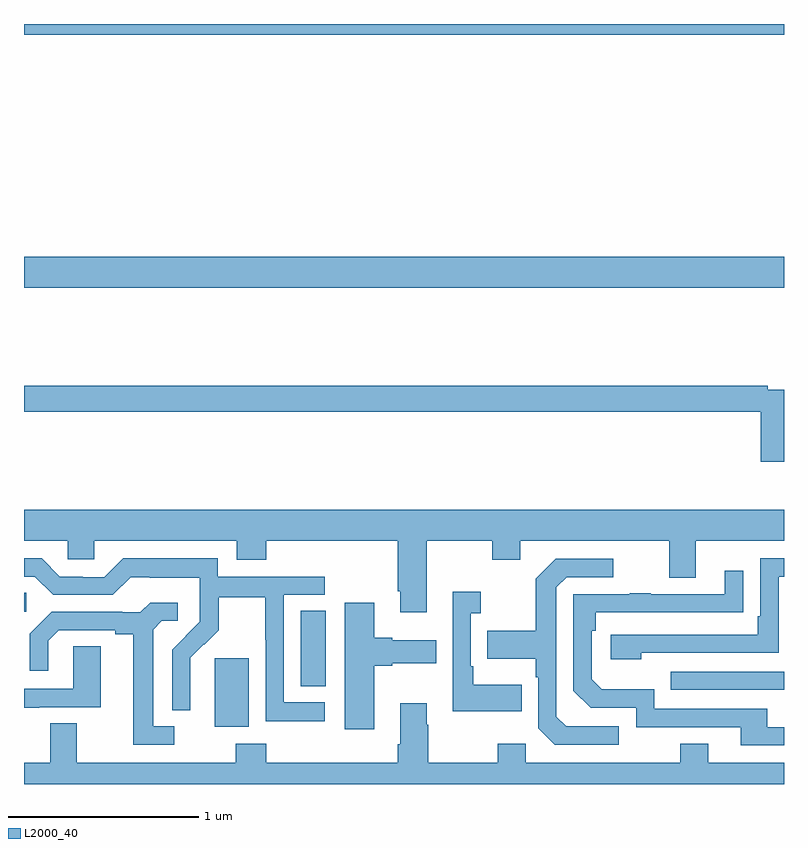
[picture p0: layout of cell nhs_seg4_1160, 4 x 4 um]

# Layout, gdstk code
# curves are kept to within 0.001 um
import gdstk
lib = gdstk.Library(unit=1e-6, precision=1e-09)
def R(c, l, rs):  # rectangles x0, y0, x1, y1
    for r in rs: c.add(gdstk.rectangle(r[:2], r[2:], *l))
def P(c, l, *ps):  # polygons
    for p in ps: c.add(gdstk.Polygon(p, *l))
L2000_40 = (2000, 40)

nhs_seg4_1160 = lib.new_cell('nhs_seg4_1160')
R(nhs_seg4_1160, L2000_40, [(172.004,769.202,172.183,769.563), (174.403,769.395,175,769.491), (172.457,769.414,172.588,769.811), (171,769.806,171.013,769.907), (171,771.512,175,771.676), (171,772.844,175,772.9)])
P(nhs_seg4_1160, L2000_40, [(175,770.976),(174.914,770.976),(174.914,770.996),(171,770.996),(171,770.86),(174.878,770.86),(174.878,770.595),(175,770.595)],
  [(173.119,770.18),(173.464,770.18),(173.464,770.081),(173.611,770.081),(173.611,770.18),(174.395,770.18),(174.395,769.986),(174.535,769.986),(174.535,770.18),(175,770.18),(175,770.344),(171,770.344),(171,770.18),(171.231,770.18),(171.231,770.082),(171.369,770.082),(171.369,770.18),(172.121,770.18),(172.121,770.081),(172.274,770.081),(172.274,770.18),(172.967,770.18),(172.967,769.915),(172.979,769.915),(172.979,769.803),(173.119,769.803)],
  [(172.582,769.329),(172.368,769.329),(172.368,769.896),(172.582,769.896),(172.582,769.992),(172.02,769.992),(172.02,770.089),(171.523,770.089),(171.423,769.989),(171.308,769.989),(171.308,769.992),(171.189,769.992),(171.093,770.088),(171,770.088),(171,769.992),(171.057,769.992),(171.153,769.896),(171.468,769.896),(171.561,769.989),(171.661,769.989),(171.661,769.985),(171.924,769.985),(171.924,769.851),(171.926,769.851),(171.926,769.754),(171.78,769.606),(171.78,769.288),(171.876,769.288),(171.875,769.565),(171.945,769.635),(171.948,769.632),(172.025,769.709),(172.025,769.884),(172.27,769.884),(172.27,769.66),(172.272,769.66),(172.272,769.231),(172.582,769.231)],
  [(174.248,769.59),(174.972,769.59),(174.972,769.992),(175,769.992),(175,770.088),(174.876,770.088),(174.876,769.783),(174.863,769.783),(174.863,769.686),(174.087,769.686),(174.087,769.556),(174.248,769.556)],
  [(174.13,769.203),(173.853,769.203),(173.802,769.254),(173.802,769.935),(173.856,769.989),(174.1,769.989),(174.1,770.085),(173.799,770.085),(173.694,769.979),(173.694,769.707),(173.437,769.707),(173.437,769.559),(173.694,769.559),(173.694,769.463),(173.706,769.463),(173.706,769.194),(173.793,769.107),(174.13,769.107)],
  [(175,769.2),(174.913,769.2),(174.913,769.296),(174.318,769.296),(174.318,769.399),(174.041,769.399),(173.988,769.452),(173.988,769.706),(174.008,769.706),(174.008,769.803),(174.785,769.804),(174.785,770.023),(174.689,770.023),(174.689,769.899),(174.299,769.899),(174.299,769.904),(174.187,769.904),(174.187,769.899),(173.892,769.899),(173.892,769.392),(173.982,769.302),(174.222,769.302),(174.222,769.2),(174.773,769.2),(174.773,769.104),(175,769.104)],
  [(173.621,769.423),(173.365,769.423),(173.365,769.519),(173.352,769.519),(173.352,769.799),(173.404,769.799),(173.404,769.912),(173.256,769.912),(173.256,769.283),(173.621,769.283)],
  [(172.843,769.523),(172.939,769.523),(172.939,769.535),(173.17,769.535),(173.17,769.657),(172.939,769.657),(172.939,769.67),(172.843,769.67),(172.843,769.855),(172.688,769.855),(172.688,769.188),(172.843,769.188)],
  [(171.79,769.203),(171.679,769.203),(171.679,769.711),(171.726,769.758),(171.808,769.758),(171.808,769.855),(171.664,769.855),(171.612,769.803),(171.518,769.803),(171.518,769.806),(171.146,769.806),(171.03,769.69),(171.03,769.497),(171.127,769.497),(171.127,769.653),(171.184,769.71),(171.479,769.71),(171.479,769.688),(171.575,769.688),(171.575,769.107),(171.79,769.107)],
  [(171.079,769.305),(171.403,769.305),(171.403,769.625),(171.258,769.625),(171.258,769.401),(171,769.401),(171,769.301),(171.079,769.301)],
  [(173.119,769.211),(173.119,769.324),(172.979,769.324),(172.979,769.108),(172.967,769.108),(172.967,769.012),(172.274,769.012),(172.274,769.111),(172.114,769.111),(172.114,769.012),(171.277,769.012),(171.277,769.22),(171.137,769.22),(171.137,769.012),(171,769.012),(171,768.9),(175,768.9),(175,769.012),(174.601,769.012),(174.601,769.111),(174.454,769.111),(174.454,769.012),(173.64,769.012),(173.64,769.111),(173.494,769.111),(173.494,769.012),(173.127,769.012),(173.127,769.211)])

lib.write_gds('nhs_seg4_1160.gds')
